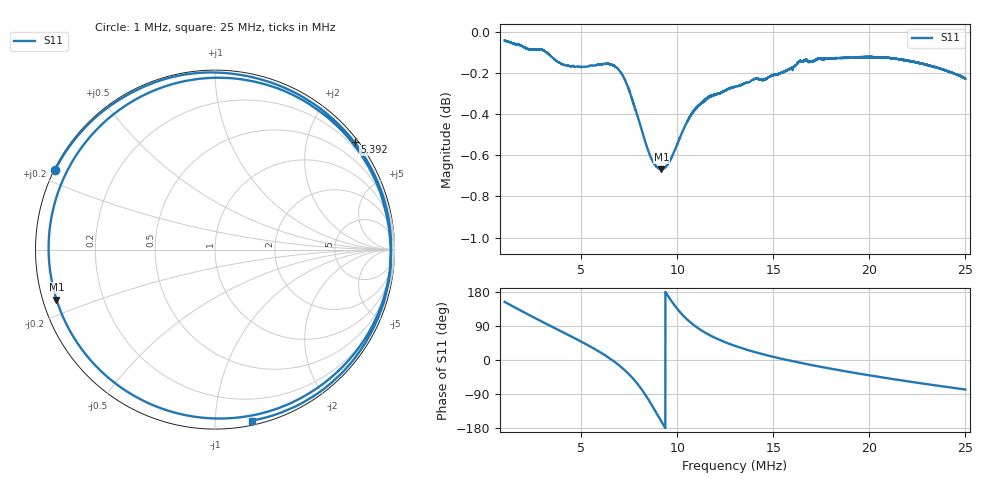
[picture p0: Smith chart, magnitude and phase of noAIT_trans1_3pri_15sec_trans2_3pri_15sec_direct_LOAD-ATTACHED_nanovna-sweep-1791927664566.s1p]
! NanoVNA Web complex sweep
! Processing: unaveraged complex samples; linear segment spacing; no smoothing
# Hz S RI R 50
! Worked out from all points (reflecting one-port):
!   5050 points, 1 MHz to 25 MHz, reference 50 ohm
!   lowest |S11| = -0.7 dB at 9.166 MHz (marker M1), VSWR 26.02, Z = 1.97 - j7.68 ohm
!   phase of S11 starts at 153 deg and turns -591 deg over the sweep
!   S11 on the Smith chart (normalised r, x): 1 MHz: 0.00, +0.24; 5.392 MHz: 0.09, +2.94; 25 MHz: 0.03, -1.24
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1000000  -0.8901 0.4451
1850787  -0.6395 0.7589
2582749  -0.3496 0.9264
3267181  -0.0506 0.9867
4003896  0.2665 0.9451
4697834  0.5437 0.8161
5391772  0.7773 0.5985
6299595  0.9667 0.1753
7003039  0.9418 -0.2645
7340502  0.8348 -0.4973
7658953  0.6526 -0.7075
8005922  0.3486 -0.885
8281596  0.0311 -0.9413
8490728  -0.2348 -0.9053
8699860  -0.4935 -0.7887
8947016  -0.7452 -0.5514
9165654  -0.8832 -0.2783
9536388  -0.9053 0.2096
1.000218e7  -0.6565 0.6717
1.046322e7  -0.3108 0.8978
1.101457e7  0.0642 0.9566
1.191764e7  0.4903 0.8316
1.300132e7  0.7733 0.5852
1.425612e7  0.9277 0.2963
1.600047e7  0.9773 -0.0541
1.899961e7  0.8357 -0.5226
2.199875e7  0.5457 -0.8189
2.49979e7  0.2041 -0.9525
